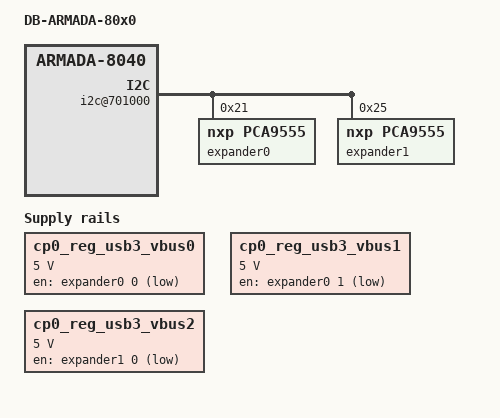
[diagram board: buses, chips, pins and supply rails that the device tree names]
// SPDX-License-Identifier: GPL-2.0+
/*
 * Copyright (C) 2018 Marvell International Ltd.
 */

#include "armada-8040.dtsi" /* include SoC device tree */
#include "armada-8040-dev-info.dtsi"

/ {
	compatible = "marvell,armada-80x0-db", "marvell,armada-8040";
	model = "DB-ARMADA-80x0";

	cp0 {
		config-space {
			i2c@701000 {
				expander0: pca953x@21 {
					compatible = "nxp,pca9555";
					#gpio-cells = <2>;
					reg = <0x21>;
					status = "okay";
				};
				expander1: pca953x@25 {
					compatible = "nxp,pca9555";
					#gpio-cells = <2>;
					reg = <0x25>;
					status = "okay";
				};
			};

			cp0_reg_usb3_vbus0:cp0_usb3_vbus@0 {
				compatible = "regulator-fixed";
				regulator-min-microvolt = <5000000>;
				regulator-max-microvolt = <5000000>;
				startup-delay-us = <100000>;
				regulator-force-boot-off;
				gpio = <&expander0 0 GPIO_ACTIVE_HIGH>;
			};

			cp0_reg_usb3_vbus1: cp0_usb3_vbus@1 {
				compatible = "regulator-fixed";
				regulator-min-microvolt = <5000000>;
				regulator-max-microvolt = <5000000>;
				startup-delay-us = <100000>;
				regulator-force-boot-off;
				gpio = <&expander0 1 GPIO_ACTIVE_HIGH>;
			};

			/*
			 * Even though this node used for enable/disable
			 * cp1 usb vbus-supply, we use "cp0" prefix since
			 * the expander is connected to cp0.
			 */
			cp0_reg_usb3_vbus2: cp0_usb3_vbus@2 {
				compatible = "regulator-fixed";
				regulator-min-microvolt = <5000000>;
				regulator-max-microvolt = <5000000>;
				startup-delay-us = <100000>;
				regulator-force-boot-off;
				gpio = <&expander1 0 GPIO_ACTIVE_HIGH>;
			};

			cp0_usb3_0: usb3@500000 {
				vbus-supply = <&cp0_reg_usb3_vbus0>;
				vbus-disable-delay = <500>;
			};
			cp0_usb3_1: usb3@510000 {
				vbus-supply = <&cp0_reg_usb3_vbus1>;
				vbus-disable-delay = <500>;
			};
		};
	};

	cp1 {
		config-space {

			cp1_usb3_0: usb3@500000 {
				vbus-supply = <&cp0_reg_usb3_vbus2>;
				vbus-disable-delay = <500>;
			};
		};
	};
};
